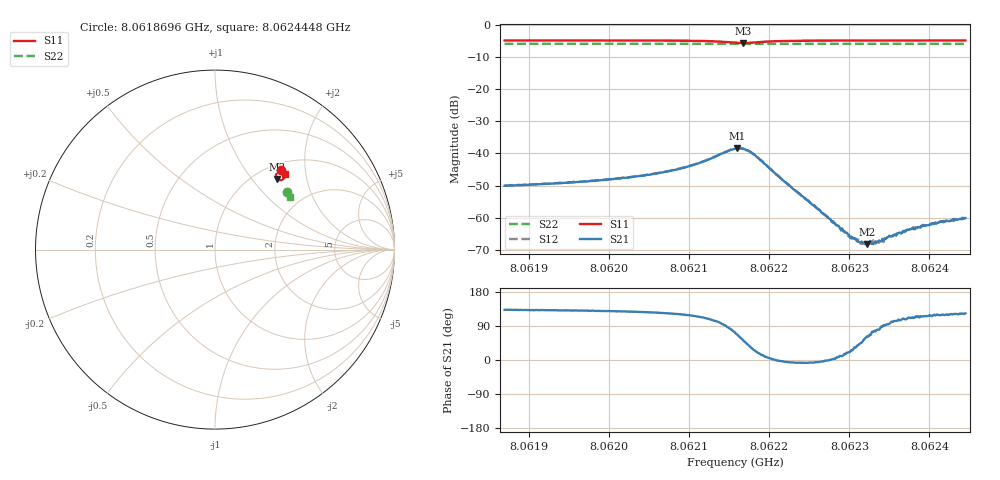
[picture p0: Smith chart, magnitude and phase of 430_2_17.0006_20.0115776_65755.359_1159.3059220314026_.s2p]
#  HZ  S  RI  R  50.00
! Rohde & Schwarz Vector Network Analyzer
! Rohde-Schwarz,ZNB20-2Port,1311601062101988,3.16
! Created: UTC 3/20/2024, 11:11:19 PM
! freq[Hz]  re:S11  im:S11  re:S21  im:S21  re:S12  im:S12  re:S22  im:S22
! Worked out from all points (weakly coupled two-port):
!   401 points, 8.0618696 GHz to 8.0624448 GHz, reference 50 ohm
!   highest |S21| = -38.34 dB at 8.0621601 GHz (marker M1); lowest = -68.3 dB at 8.0623226 GHz (marker M2)
!   lowest |S11| = -5.6 dB at 8.0621673 GHz (marker M3), VSWR 3.21, Z = 62.5 + j67.7 ohm
!   |S11| at or under -10 dB: nowhere
!   |S22| runs from -5.9 to -5.8 dB; largest |S21 - S12| = 0.00085
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8.06186963e9  0.3687 0.4427  -0.00211 0.00231  -0.00198 0.00244  0.4001 0.3193
8.06196597e9  0.3756 0.4364  -0.00234 0.00274  -0.0022 0.0029  0.4035 0.3144
8.06202349e9  0.3802 0.4315  -0.00257 0.00331  -0.00241 0.00349  0.4057 0.3114
8.06206231e9  0.3837 0.4267  -0.0028 0.00407  -0.00259 0.00428  0.4071 0.3093
8.06210402e9  0.3876 0.4168  -0.00294 0.00584  -0.00263 0.00607  0.4086 0.3069
8.06215722e9  0.3641 0.3866  0.00351 0.0113  0.00424 0.0111  0.409 0.3033
8.0621601e9  0.3591 0.3871  0.00477 0.0111  0.00545 0.0108  0.4088 0.3032
8.06216729e9  0.3474 0.3928  0.00722 0.00923  0.00776 0.00897  0.4086 0.3034
8.06218023e9  0.3394 0.4131  0.00858 0.00441  0.00893 0.00404  0.4089 0.3038
8.06222049e9  0.3618 0.4355  0.00348 -0.000312  0.00352 -0.000488  0.4117 0.3025
8.06225357e9  0.3721 0.4345  0.00158 -0.000182  0.00157 -0.000308  0.4133 0.3008
8.06228808e9  0.3782 0.4321  0.000676 0.000127  0.000699 3.27e-05  0.4146 0.2989
8.06230246e9  0.3802 0.431  0.000424 0.000208  0.000468 0.000193  0.4152 0.2982
8.0623154e9  0.3816 0.4301  0.000294 0.000303  0.000286 0.000264  0.4157 0.2974
8.06232259e9  0.3825 0.4298  0.000173 0.000342  0.000197 0.0003  0.4159 0.2971
8.06233122e9  0.3834 0.4291  9.04e-05 0.0004  0.000136 0.000377  0.4161 0.2965
8.06233984e9  0.3842 0.4285  1.04e-05 0.000426  7.59e-05 0.000462  0.4165 0.2962
8.06234991e9  0.3852 0.4278  -4.91e-05 0.000521  -8.89e-06 0.000511  0.4169 0.2958
8.06237004e9  0.3869 0.4266  -0.000185 0.000604  -0.000137 0.000592  0.4176 0.2947
8.06238873e9  0.3883 0.4254  -0.000305 0.000628  -0.000294 0.00066  0.4183 0.2937
8.06241318e9  0.3903 0.4239  -0.000409 0.000765  -0.000407 0.000772  0.4192 0.2924
8.06244482e9  0.3925 0.4221  -0.000537 0.000822  -0.000484 0.000834  0.4202 0.2906
